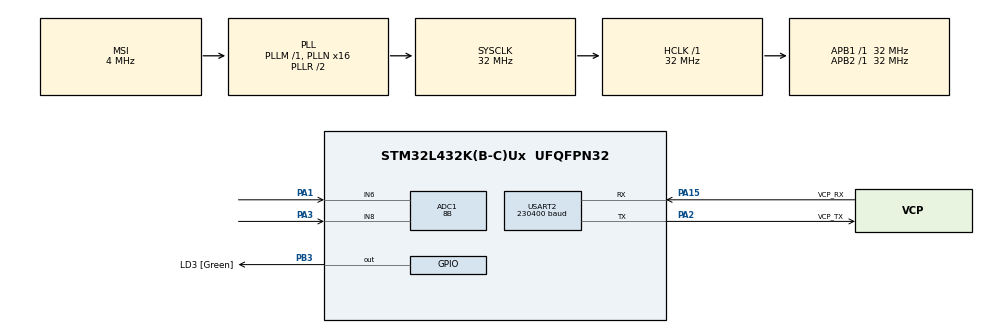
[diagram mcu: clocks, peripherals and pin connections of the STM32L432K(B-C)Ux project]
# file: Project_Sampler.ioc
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ADC1.Channel-0\#ChannelRegularConversion=ADC_CHANNEL_8
ADC1.ContinuousConvMode=DISABLE
ADC1.DMAContinuousRequests=ENABLE
ADC1.ExternalTrigConv=ADC_EXTERNALTRIG_T6_TRGO
ADC1.NbrOfConversionFlag=1
ADC1.OffsetNumber-0\#ChannelRegularConversion=ADC_OFFSET_NONE
ADC1.Rank-0\#ChannelRegularConversion=1
ADC1.Resolution=ADC_RESOLUTION_8B
ADC1.SamplingTime-0\#ChannelRegularConversion=ADC_SAMPLETIME_2CYCLES_5
ADC1.master=1
Dma.ADC1.1.Direction=DMA_PERIPH_TO_MEMORY
Dma.ADC1.1.Instance=DMA1_Channel1
Dma.ADC1.1.MemDataAlignment=DMA_MDATAALIGN_BYTE
Dma.ADC1.1.MemInc=DMA_MINC_ENABLE
Dma.ADC1.1.Mode=DMA_CIRCULAR
Dma.ADC1.1.PeriphDataAlignment=DMA_PDATAALIGN_BYTE
Dma.ADC1.1.PeriphInc=DMA_PINC_DISABLE
Dma.ADC1.1.Priority=DMA_PRIORITY_MEDIUM
Dma.Request0=USART2_TX
Dma.Request1=ADC1
Dma.USART2_TX.0.Direction=DMA_MEMORY_TO_PERIPH
Dma.USART2_TX.0.Instance=DMA1_Channel7
Dma.USART2_TX.0.MemDataAlignment=DMA_MDATAALIGN_BYTE
Dma.USART2_TX.0.MemInc=DMA_MINC_ENABLE
Dma.USART2_TX.0.Mode=DMA_NORMAL
Dma.USART2_TX.0.PeriphDataAlignment=DMA_PDATAALIGN_BYTE
Dma.USART2_TX.0.PeriphInc=DMA_PINC_DISABLE
Dma.USART2_TX.0.Priority=DMA_PRIORITY_LOW
Mcu.Family=STM32L4
Mcu.Name=STM32L432K(B-C)Ux
Mcu.Package=UFQFPN32
NVIC.DMA1_Channel1_IRQn=true\:0\:0\:false\:false\:true\:false\:true\:true
NVIC.DMA1_Channel7_IRQn=true\:1\:0\:true\:false\:true\:false\:true\:true
NVIC.PriorityGroup=NVIC_PRIORITYGROUP_4
NVIC.USART2_IRQn=true\:0\:0\:false\:false\:true\:true\:true\:true
PA0.GPIO_Label=MCO [High speed clock in]
PA0.Mode=HSE-External-Clock-Source-for-LittleOrca
PA0.Signal=RCC_CK_IN
PA1.Signal=ADCx_IN6
PA13\ (JTMS-SWDIO).GPIO_Label=SWDIO
PA13\ (JTMS-SWDIO).Mode=Serial_Wire
PA13\ (JTMS-SWDIO).Signal=SYS_JTMS-SWDIO
PA14\ (JTCK-SWCLK).GPIO_Label=SWCLK
PA14\ (JTCK-SWCLK).Mode=Serial_Wire
PA14\ (JTCK-SWCLK).Signal=SYS_JTCK-SWCLK
PA15\ (JTDI).GPIO_Label=VCP_RX
PA15\ (JTDI).Mode=Asynchronous
PA15\ (JTDI).Signal=USART2_RX
PA2.GPIO_Label=VCP_TX
PA2.Mode=Asynchronous
PA2.Signal=USART2_TX
PA3.Signal=ADCx_IN8
PA5.Signal=SPI1_SCK
PB3\ (JTDO-TRACESWO).GPIO_Label=LD3 [Green]
PB3\ (JTDO-TRACESWO).Signal=GPIO_Output
PC14-OSC32_IN\ (PC14).Mode=LSE-External-Oscillator
PC14-OSC32_IN\ (PC14).Signal=RCC_OSC32_IN
PC15-OSC32_OUT\ (PC15).Mode=LSE-External-Oscillator
PC15-OSC32_OUT\ (PC15).Signal=RCC_OSC32_OUT
ProjectManager.HeapSize=0x200
ProjectManager.StackSize=0x400
ProjectManager.TargetToolchain=STM32CubeIDE
RCC.ADCFreq_Value=32000000
RCC.AHBFreq_Value=32000000
RCC.APB1Freq_Value=32000000
RCC.APB1TimFreq_Value=32000000
RCC.APB2Freq_Value=32000000
RCC.APB2TimFreq_Value=32000000
RCC.CortexFreq_Value=32000000
RCC.HCLKFreq_Value=32000000
RCC.HSE_VALUE=8000000
RCC.HSI16_VALUE=16000000
RCC.HSI48_VALUE=48000000
RCC.HSI_VALUE=16000000
RCC.MSI_VALUE=4000000
RCC.PLLMUL=RCC_PLLMUL_4
RCC.PLLN=16
RCC.PLLSAI1N=16
RCC.SYSCLKFreq_VALUE=32000000
RCC.SYSCLKSource=RCC_SYSCLKSOURCE_PLLCLK
RCC.USBFreq_Value=32000000
RCC.VCOOutputFreq_Value=64000000
SH.ADCx_IN6.0=ADC1_IN6,IN6-Single-Ended
SH.ADCx_IN8.0=ADC1_IN8,IN8-Single-Ended
TIM6.Period=100-1
TIM6.Prescaler=32-1
TIM6.TIM_MasterOutputTrigger=TIM_TRGO_UPDATE
USART2.BaudRate=230400
USART2.VirtualMode-Asynchronous=VM_ASYNC
VP_TIM6_VS_ClockSourceINT.Mode=Enable_Timer
board=NUCLEO-L432KC

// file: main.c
/* USER CODE BEGIN Header */
/**
  ******************************************************************************
  * @file           : main.c
  * @brief          : Main program body
  ******************************************************************************
  * @attention
  *
  * Copyright (c) 2025 STMicroelectronics.
  * All rights reserved.
  *
  * This software is licensed under terms that can be found in the LICENSE file
  * in the root directory of this software component.
  * If no LICENSE file comes with this software, it is provided AS-IS.
  *
  ******************************************************************************
  */
/* USER CODE END Header */
#include "main.h"

/* USER CODE BEGIN Includes */
#include <stdio.h>
#include <string.h>
/* USER CODE END Includes */

ADC_HandleTypeDef hadc1;
DMA_HandleTypeDef hdma_adc1;

TIM_HandleTypeDef htim6;

UART_HandleTypeDef huart2;
DMA_HandleTypeDef hdma_usart2_tx;

/* USER CODE BEGIN PV */
uint16_t raw_ADC_value = 0;
uint16_t temp = 0;

uint8_t tx_buffer[100];          // 100 bytes = 50 samples
uint8_t tx_idx = 0;
uint8_t sent = 0;
uint8_t sample = 0;
#define ADC_BUF_LEN 100
uint8_t adc_buf[ADC_BUF_LEN];
// For 1 Hz LED toggle
volatile uint32_t led_toggle_counter = 0;
const uint32_t LED_TOGGLE_PERIOD_SAMPLES = 5000;  // 10 kHz → 0.5 sec = 5000 samples
/* USER CODE END PV */

void SystemClock_Config(void);
static void MX_GPIO_Init(void);
static void MX_DMA_Init(void);
static void MX_ADC1_Init(void);
static void MX_USART2_UART_Init(void);
static void MX_TIM6_Init(void);

int main(void)
{

  /* MCU Configuration--------------------------------------------------------*/

  /* Reset of all peripherals, Initializes the Flash interface and the Systick. */
  HAL_Init();

  /* Configure the system clock */
  SystemClock_Config();

  /* Initialize all configured peripherals */
  MX_GPIO_Init();
  MX_DMA_Init();
  MX_ADC1_Init();
  MX_USART2_UART_Init();
  MX_TIM6_Init();
  /* USER CODE BEGIN 2 */
  HAL_TIM_Base_Start(&htim6);                              // start ADC trigger
  HAL_ADCEx_Calibration_Start(&hadc1, ADC_SINGLE_ENDED);    // recommended
  HAL_ADC_Start_DMA(&hadc1, (uint32_t*)adc_buf, ADC_BUF_LEN);
  /* USER CODE END 2 */

  /* Infinite loop */
  while (1)
  {

  }
}

void SystemClock_Config(void)
{
  RCC_OscInitTypeDef RCC_OscInitStruct = {0};
  RCC_ClkInitTypeDef RCC_ClkInitStruct = {0};

  /** Configure the main internal regulator output voltage
  */
  if (HAL_PWREx_ControlVoltageScaling(PWR_REGULATOR_VOLTAGE_SCALE1) != HAL_OK)
  {
    Error_Handler();
  }

  /** Configure LSE Drive Capability
  */
  HAL_PWR_EnableBkUpAccess();
  __HAL_RCC_LSEDRIVE_CONFIG(RCC_LSEDRIVE_LOW);

  /** Initializes the RCC Oscillators according to the specified parameters
  * in the RCC_OscInitTypeDef structure.
  */
  RCC_OscInitStruct.OscillatorType = RCC_OSCILLATORTYPE_LSE|RCC_OSCILLATORTYPE_MSI;
  RCC_OscInitStruct.LSEState = RCC_LSE_ON;
  RCC_OscInitStruct.MSIState = RCC_MSI_ON;
  RCC_OscInitStruct.MSICalibrationValue = 0;
  RCC_OscInitStruct.MSIClockRange = RCC_MSIRANGE_6;
  RCC_OscInitStruct.PLL.PLLState = RCC_PLL_ON;
  RCC_OscInitStruct.PLL.PLLSource = RCC_PLLSOURCE_MSI;
  RCC_OscInitStruct.PLL.PLLM = 1;
  RCC_OscInitStruct.PLL.PLLN = 16;
  RCC_OscInitStruct.PLL.PLLP = RCC_PLLP_DIV7;
  RCC_OscInitStruct.PLL.PLLQ = RCC_PLLQ_DIV2;
  RCC_OscInitStruct.PLL.PLLR = RCC_PLLR_DIV2;
  if (HAL_RCC_OscConfig(&RCC_OscInitStruct) != HAL_OK)
  {
    Error_Handler();
  }

  /** Initializes the CPU, AHB and APB buses clocks
  */
  RCC_ClkInitStruct.ClockType = RCC_CLOCKTYPE_HCLK|RCC_CLOCKTYPE_SYSCLK
                              |RCC_CLOCKTYPE_PCLK1|RCC_CLOCKTYPE_PCLK2;
  RCC_ClkInitStruct.SYSCLKSource = RCC_SYSCLKSOURCE_PLLCLK;
  RCC_ClkInitStruct.AHBCLKDivider = RCC_SYSCLK_DIV1;
  RCC_ClkInitStruct.APB1CLKDivider = RCC_HCLK_DIV1;
  RCC_ClkInitStruct.APB2CLKDivider = RCC_HCLK_DIV1;

  if (HAL_RCC_ClockConfig(&RCC_ClkInitStruct, FLASH_LATENCY_1) != HAL_OK)
  {
    Error_Handler();
  }

  /** Enable MSI Auto calibration
  */
  HAL_RCCEx_EnableMSIPLLMode();
}

static void MX_ADC1_Init(void)
{

  ADC_ChannelConfTypeDef sConfig = {0};

  /** Common config
  */
  hadc1.Instance = ADC1;
  hadc1.Init.ClockPrescaler = ADC_CLOCK_ASYNC_DIV1;
  hadc1.Init.Resolution = ADC_RESOLUTION_8B;
  hadc1.Init.DataAlign = ADC_DATAALIGN_RIGHT;
  hadc1.Init.ScanConvMode = ADC_SCAN_DISABLE;
  hadc1.Init.EOCSelection = ADC_EOC_SINGLE_CONV;
  hadc1.Init.LowPowerAutoWait = DISABLE;
  hadc1.Init.ContinuousConvMode = DISABLE;
  hadc1.Init.NbrOfConversion = 1;
  hadc1.Init.DiscontinuousConvMode = DISABLE;
  hadc1.Init.ExternalTrigConv = ADC_EXTERNALTRIG_T6_TRGO;
  hadc1.Init.ExternalTrigConvEdge = ADC_EXTERNALTRIGCONVEDGE_RISING;
  hadc1.Init.DMAContinuousRequests = ENABLE;
  hadc1.Init.Overrun = ADC_OVR_DATA_PRESERVED;
  hadc1.Init.OversamplingMode = DISABLE;
  if (HAL_ADC_Init(&hadc1) != HAL_OK)
  {
    Error_Handler();
  }

  /** Configure Regular Channel
  */
  sConfig.Channel = ADC_CHANNEL_8;
  sConfig.Rank = ADC_REGULAR_RANK_1;
  sConfig.SamplingTime = ADC_SAMPLETIME_2CYCLES_5;
  sConfig.SingleDiff = ADC_SINGLE_ENDED;
  sConfig.OffsetNumber = ADC_OFFSET_NONE;
  sConfig.Offset = 0;
  if (HAL_ADC_ConfigChannel(&hadc1, &sConfig) != HAL_OK)
  {
    Error_Handler();
  }

}

static void MX_TIM6_Init(void)
{

  TIM_MasterConfigTypeDef sMasterConfig = {0};

  htim6.Instance = TIM6;
  htim6.Init.Prescaler = 32-1;
  htim6.Init.CounterMode = TIM_COUNTERMODE_UP;
  htim6.Init.Period = 100-1;
  htim6.Init.AutoReloadPreload = TIM_AUTORELOAD_PRELOAD_DISABLE;
  if (HAL_TIM_Base_Init(&htim6) != HAL_OK)
  {
    Error_Handler();
  }
  sMasterConfig.MasterOutputTrigger = TIM_TRGO_UPDATE;
  sMasterConfig.MasterSlaveMode = TIM_MASTERSLAVEMODE_DISABLE;
  if (HAL_TIMEx_MasterConfigSynchronization(&htim6, &sMasterConfig) != HAL_OK)
  {
    Error_Handler();
  }

}

static void MX_USART2_UART_Init(void)
{

  huart2.Instance = USART2;
  huart2.Init.BaudRate = 230400;
  huart2.Init.WordLength = UART_WORDLENGTH_8B;
  huart2.Init.StopBits = UART_STOPBITS_1;
  huart2.Init.Parity = UART_PARITY_NONE;
  huart2.Init.Mode = UART_MODE_TX_RX;
  huart2.Init.HwFlowCtl = UART_HWCONTROL_NONE;
  huart2.Init.OverSampling = UART_OVERSAMPLING_16;
  huart2.Init.OneBitSampling = UART_ONE_BIT_SAMPLE_DISABLE;
  huart2.AdvancedInit.AdvFeatureInit = UART_ADVFEATURE_NO_INIT;
  if (HAL_UART_Init(&huart2) != HAL_OK)
  {
    Error_Handler();
  }

}

static void MX_DMA_Init(void)
{

  /* DMA controller clock enable */
  __HAL_RCC_DMA1_CLK_ENABLE();

  /* DMA interrupt init */
  /* DMA1_Channel1_IRQn interrupt configuration */
  HAL_NVIC_SetPriority(DMA1_Channel1_IRQn, 0, 0);
  HAL_NVIC_EnableIRQ(DMA1_Channel1_IRQn);
  /* DMA1_Channel7_IRQn interrupt configuration */
  HAL_NVIC_SetPriority(DMA1_Channel7_IRQn, 1, 0);
  HAL_NVIC_EnableIRQ(DMA1_Channel7_IRQn);

}

static void MX_GPIO_Init(void)
{
  GPIO_InitTypeDef GPIO_InitStruct = {0};

  /* GPIO Ports Clock Enable */
  __HAL_RCC_GPIOC_CLK_ENABLE();
  __HAL_RCC_GPIOA_CLK_ENABLE();
  __HAL_RCC_GPIOB_CLK_ENABLE();

  /*Configure GPIO pin Output Level */
  HAL_GPIO_WritePin(LD3_GPIO_Port, LD3_Pin, GPIO_PIN_RESET);

  /*Configure GPIO pin : PA5 */
  GPIO_InitStruct.Pin = GPIO_PIN_5;
  GPIO_InitStruct.Mode = GPIO_MODE_AF_PP;
  GPIO_InitStruct.Pull = GPIO_NOPULL;
  GPIO_InitStruct.Speed = GPIO_SPEED_FREQ_VERY_HIGH;
  GPIO_InitStruct.Alternate = GPIO_AF5_SPI1;
  HAL_GPIO_Init(GPIOA, &GPIO_InitStruct);

  /*Configure GPIO pin : LD3_Pin */
  GPIO_InitStruct.Pin = LD3_Pin;
  GPIO_InitStruct.Mode = GPIO_MODE_OUTPUT_PP;
  GPIO_InitStruct.Pull = GPIO_NOPULL;
  GPIO_InitStruct.Speed = GPIO_SPEED_FREQ_LOW;
  HAL_GPIO_Init(LD3_GPIO_Port, &GPIO_InitStruct);

}

/* USER CODE BEGIN 4 */
void HAL_ADC_ConvHalfCpltCallback(ADC_HandleTypeDef* hadc) {
    if (hadc->Instance == ADC1)
        if (HAL_UART_Transmit_DMA(&huart2, &adc_buf[0], 50) != HAL_OK)
            HAL_GPIO_WritePin(LD3_GPIO_Port, LD3_Pin, GPIO_PIN_SET); // error indicator
}

void HAL_ADC_ConvCpltCallback(ADC_HandleTypeDef* hadc) {
    if (hadc->Instance == ADC1)
        if (HAL_UART_Transmit_DMA(&huart2, &adc_buf[50], 50) != HAL_OK)
            HAL_GPIO_WritePin(LD3_GPIO_Port, LD3_Pin, GPIO_PIN_SET); // error indicator
}
/* USER CODE END 4 */

void Error_Handler(void)
{
  __disable_irq();
  while (1)
  {
  }
}
